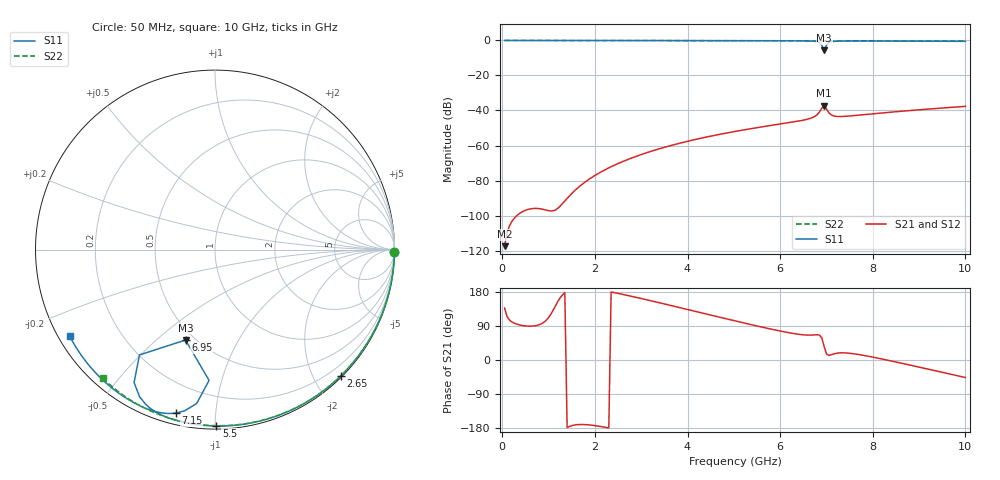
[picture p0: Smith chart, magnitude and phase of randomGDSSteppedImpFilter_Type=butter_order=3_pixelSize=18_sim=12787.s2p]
! freq	dB(S11)	phase(S11)	dB(S12)	phase(S12)
!  dB(S21)	phase(S21)	dB(S22)	phase(S22)
!S-par simulation data
#  GHz  S  DB  R 50
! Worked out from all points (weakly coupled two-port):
!   200 points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, 50 MHz to 10 GHz, reference 50 ohm
!   highest |S21| = -37.34 dB at 6.95 GHz (marker M1); lowest = -117.5 dB at 50 MHz (marker M2)
!   lowest |S11| = -5.5 dB at 6.95 GHz (marker M3), VSWR 3.25, Z = 22.3 - j31.3 ohm
!   |S11| at or under -10 dB: nowhere
!   |S22| runs from -0.4 to 0.0 dB; largest |S21 - S12| = 0
!   S11 on the Smith chart (normalised r, x): 50 MHz: open; 2.65 GHz: 0.02, -2.41; 5.5 GHz: 0.02, -1.01; 6.95 GHz: 0.45, -0.63; 7.15 GHz: 0.05, -0.79; 10 GHz: 0.03, -0.28
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0.05  -0.00 -0.9  -117.50 137.4  -117.50 137.4  -0.00 -0.8
0.85  -0.01 -14.8  -96.27 95.9  -96.27 95.9  -0.01 -12.8
1.75  -0.04 -30.1  -81.62 -170.3  -81.62 -170.3  -0.03 -26.1
1.85  -0.04 -31.7  -79.70 -171.0  -79.70 -171.0  -0.04 -27.6
2.25  -0.05 -38.4  -73.42 -178.2  -73.42 -178.2  -0.04 -33.4
2.65  -0.06 -45.0  -68.63 171.9  -68.63 171.9  -0.05 -39.2
3.4  -0.08 -57.1  -61.80 150.8  -61.80 150.8  -0.07 -49.8
4.15  -0.10 -68.9  -56.67 128.9  -56.67 128.9  -0.08 -60.1
5.05  -0.13 -82.7  -51.85 102.5  -51.85 102.5  -0.11 -72.0
5.5  -0.15 -89.6  -49.81 89.8  -49.81 89.8  -0.13 -77.8
6.3  -0.21 -102.4  -46.48 69.6  -46.48 69.6  -0.16 -87.9
6.7  -0.39 -112.0  -44.01 65.9  -44.01 65.9  -0.18 -92.8
6.8  -0.71 -117.1  -42.36 66.7  -42.36 66.7  -0.19 -94.1
6.85  -1.24 -121.3  -40.84 65.6  -40.84 65.6  -0.19 -94.7
6.9  -2.83 -125.6  -38.67 57.9  -38.67 57.9  -0.19 -95.3
6.95  -5.52 -108.1  -37.34 35.8  -37.34 35.8  -0.19 -95.9
7  -2.74 -92.6  -39.13 16.2  -39.13 16.2  -0.19 -96.5
7.05  -1.27 -96.8  -41.25 12.1  -41.25 12.1  -0.20 -97.1
7.15  -0.56 -103.6  -43.07 15.7  -43.07 15.7  -0.20 -98.3
7.5  -0.31 -113.2  -43.14 17.8  -43.14 17.8  -0.23 -102.5
8.35  -0.34 -126.4  -41.06 -1.3  -41.06 -1.3  -0.29 -112.4
10  -0.51 -149.1  -37.66 -46.2  -37.66 -46.2  -0.44 -131.1
